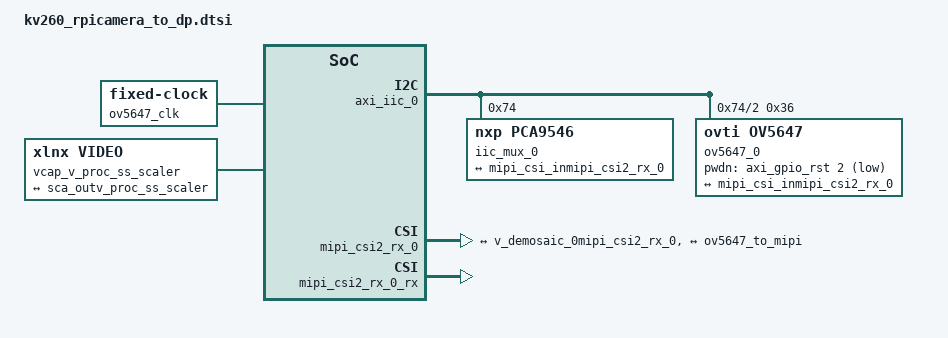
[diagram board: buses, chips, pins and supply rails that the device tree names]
/dts-v1/;
/plugin/;
&fpga_full {
	firmware-name = "kv260_rpicamera_to_dp.bit.bin";
	misc_clk_0: misc_clk_0 {
		clock-div = <1000>;
		compatible = "fixed-factor-clock";
		clock-mult = <3000>;
		clocks = <&zynqmp_clk 71>;
		#clock-cells = <0>;
	};
	misc_clk_2: misc_clk_2 {
		clock-div = <1000>;
		compatible = "fixed-factor-clock";
		clock-mult = <1140>;
		clocks = <&zynqmp_clk 71>;
		#clock-cells = <0>;
	};
	misc_clk_1: misc_clk_1 {
		clock-div = <1000>;
		compatible = "fixed-factor-clock";
		clock-mult = <2000>;
		clocks = <&zynqmp_clk 71>;
		#clock-cells = <0>;
	};
	clocking1: clocking1 {
		compatible = "xlnx,fclk";
		assigned-clocks = <&zynqmp_clk 72>;
		assigned-clock-rates = <99999001>;
		#clock-cells = <0>;
		clock-output-names = "fabric_clk";
		clocks = <&zynqmp_clk 72>;
	};
	clocking0: clocking0 {
		compatible = "xlnx,fclk";
		assigned-clocks = <&zynqmp_clk 71>;
		assigned-clock-rates = <99999001>;
		#clock-cells = <0>;
		clock-output-names = "fabric_clk";
		clocks = <&zynqmp_clk 71>;
	};
	afi0: afi0 {
		compatible = "xlnx,afi-fpga";
		resets = <&zynqmp_reset 116>, <&zynqmp_reset 117>, <&zynqmp_reset 118>, <&zynqmp_reset 119>;
		config-afi = < 0 0>, <1 0>, <2 0>, <3 0>, <4 0>, <5 0>, <6 0>, <7 0>, <8 0>, <9 0>, <10 0>, <11 0>, <12 0>, <13 0>, <14 0xa00>, <15 0x000>;
	};

	/* Manually extended: Sensor Clock for OV5647 */
	ov5647_clk: camera-clk {
		compatible = "fixed-clock";
		#clock-cells = <0>;
		clock-frequency = <25000000>;
	};
};

&amba {
	axi_gpio_rst: gpio@a0060000 {
		xlnx,gpio-board-interface = "Custom";
		compatible = "xlnx,axi-gpio-2.0" , "xlnx,xps-gpio-1.00.a";
		xlnx,all-outputs = <1>;
		#gpio-cells = <2>;
		xlnx,gpio-width = <6>;
		xlnx,dout-default = <0x3f>;
		xlnx,is-dual = <0>;
		xlnx,ip-name = "axi_gpio";
		xlnx,tri-default-2 = <0xffffffff>;
		reg = <0x0 0xa0060000 0x0 0x10000>;
		xlnx,all-inputs-2 = <0>;
		clocks = <&misc_clk_0>;
		xlnx,all-outputs-2 = <0>;
		gpio-controller;
		xlnx,interrupt-present = <0>;
		xlnx,gpio2-board-interface = "Custom";
		xlnx,edk-iptype = "PERIPHERAL";
		xlnx,dout-default-2 = <0x0>;
		xlnx,gpio2-width = <32>;
		clock-names = "s_axi_aclk";
		xlnx,tri-default = <0xffffffff>;
		xlnx,name = "axi_gpio_rst";
		xlnx,all-inputs = <0>;
	};
	axi_iic_0: i2c@a0050000 {
		interrupts = < 0 105 4 >;
		xlnx,iic-freq-khz = <400>;
		compatible = "xlnx,axi-iic-2.1" , "xlnx,xps-iic-2.00.a";
		xlnx,scl-inertial-delay = <0>;
		interrupt-parent = <&gic>;
		xlnx,ip-name = "axi_iic";
		xlnx,disable-setup-violation-check = <0>;
		reg = <0x0 0xa0050000 0x0 0x10000>;
		clocks = <&misc_clk_0>;
		xlnx,gpo-width = <1>;
		xlnx,edk-iptype = "PERIPHERAL";
		xlnx,static-timing-reg-width = <0>;
		xlnx,sda-level = <1>;
		clock-names = "s_axi_aclk";
		xlnx,use-board-flow;
		xlnx,ten-bit-adr = <0>;
		xlnx,default-value = <0x0>;
		interrupt-names = "iic2intc_irpt";
		xlnx,iic-board-interface = "som240_1_connector_hda_iic_switch";
		xlnx,timing-reg-width = <32>;
		xlnx,iic-freq = <400000>;
		xlnx,smbus-pmbus-host = <0>;
		xlnx,name = "axi_iic_0";
		xlnx,axi-aclk-freq-mhz = <0x11e19748>;
		xlnx,sda-inertial-delay = <0>;
		
		/* Manually extended: I2C Topology Extension */
		#address-cells = <1>;
		#size-cells = <0>;
		iic_mux_0: i2c_mux@74 {
			compatible = "nxp,pca9546";
			#address-cells = <1>;
			#size-cells = <0>;
			reg = <0x74>;
			i2c@0 { reg = <0>; };
			i2c@1 { reg = <1>; };
			rpi_i2c: i2c@2 {
				#address-cells = <1>;
				#size-cells = <0>;
				reg = <2>;
				ov5647_0: camera@36 {
					compatible = "ovti,ov5647";
					reg = <0x36>;
					clocks = <&ov5647_clk>;
					pwdn-gpios = <&axi_gpio_rst 2 1>; 
					clock-names = "xclk"; 
					port {
						ov5647_to_mipi: endpoint {
							remote-endpoint = <&mipi_csi_inmipi_csi2_rx_0>;
							clock-lanes = <0>;
							data-lanes = <1 2>;
						};
					};
				};
			};
			i2c@3 { reg = <3>; };
		};
	};
	mipi_csi2_rx_0: mipi_csi2_rx_subsystem@a0000000 {
		xlnx,data-lane2-byte = "All_Byte";
		xlnx,dpy-en-reg-if = <0>;
		xlnx,cmn-vc = <4>;
		xlnx,dphy-lanes = <2>;
		xlnx,ip-name = "mipi_csi2_rx_subsystem";
		reg = <0x0 0xa0000000 0x0 0x1000>;
		xlnx,vfb-tu-width = <1>;
		xlnx,ppc = <1>;
		xlnx,csi-buf-depth = <4096>;
		xlnx,exdes-fmc = "LI-IMX274MIPI-FMC , V1.0 , Single , Sensor";
		xlnx,supportlevel = <1>;
		xlnx,clk-lane-io-loc-name = "IO_L13P_T2L_N0_GC_QBC_66";
		xlnx,max-lanes = <2>;
		xlnx,cmn-inc-iic = <0>;
		xlnx,clk-lane-io-loc = "D7";
		xlnx,esc-timeout = <25600>;
		interrupt-names = "csirxss_csi_irq";
		xlnx,cmn-inc-vfb;
		xlnx,axis-tuser-width = <96>;
		compatible = "xlnx,mipi-csi2-rx-subsystem-6.0" , "xlnx,mipi-csi2-rx-subsystem-5.0";
		xlnx,en-active-lanes;
		xlnx,idly-tap = <1>;
		xlnx,cmn-num-pixels = <1>;
		xlnx,cmn-proj-family = <1>;
		xlnx,csi2rx-dbg = <0>;
		xlnx,fifo-rd-en-control;
		xlnx,vfb;
		interrupt-parent = <&gic>;
		xlnx,data-lane1-io-loc-name = "IO_L15P_T2L_N4_AD11P_66";
		xlnx,hs-timeout = <65541>;
		xlnx,data-lane3-io-loc-name = "None";
		xlnx,ext-mmcm = <0>;
		xlnx,data-lane1-byte = "All_Byte";
		xlnx,master-riu;
		xlnx,cal-mode = "NONE";
		xlnx,mipi-rx-phy-mode = <1>;
		xlnx,data-lane0-io-position = <28>;
		xlnx,exdes-board = "ZCU102";
		xlnx,data-lane2-io-position = <6>;
		xlnx,vc = <4>;
		xlnx,en-vcx = <0>;
		xlnx,name = "mipi_csi2_rx_0";
		xlnx,csi-emb-non-img = <0>;
		interrupts = < 0 106 4 >;
		xlnx,dphyrx-board-interface = "som240_1_connector_mipi_csi_raspi";
		xlnx,data-lane3-io-loc = "None";
		xlnx,clock-mask = <39>;
		xlnx,hs-settle-ns = <145>;
		clocks = <&misc_clk_1>, <&misc_clk_0>, <&misc_clk_0>;
		xlnx,data-lane2-io-loc = "None";
		xlnx,mipi-slv-int = <0>;
		xlnx,cmn-fifo-rd-en-cntrl;
		xlnx,data-lane3-byte = "All_Byte";
		xlnx,axis-tdest-width = <4>;
		xlnx,phy-mode = "DPHY";
		xlnx,stretch-line-rate = <1500>;
		xlnx,en-csi-v2 = <0>;
		xlnx,edk-iptype = "PERIPHERAL";
		xlnx,init = <100000>;
		xlnx,cmn-pxl-format = <0x2b>;
		xlnx,int-qor-check = <0>;
		clock-names = "dphy_clk_200M" , "lite_aclk" , "video_aclk";
		xlnx,data-lane1-io-loc = "G6";
		xlnx,data-lane0-byte = "All_Byte";
		xlnx,ooc-vid-clk = <0x65b710>;
		csirx-present = <1>;
		xlnx,yuv420-buf-dpth = <128>;
		xlnx,hp-io-bank-selection = <66>;
		xlnx,idly-group-name = "mipi_csi2rx_idly_group";
		xlnx,lprx-disable-extport = <0>;
		csirx-connected = <&mipi_csi2_rx_0_rx>;
		xlnx,highaddr = <0xa0000fff>;
		xlnx,cmn-num-lanes = <2>;
		xlnx,exdes-config = "MIPI_Video_Pipe_Camera_to_Display";
		xlnx,exdesboard-version = <2>;
		xlnx,dphy-preset = "CSI2RX_XLNX";
		xlnx,data-lane0-io-loc-name = "IO_L14P_T2L_N2_GC_66";
		xlnx,csi-pxl-format = <0x2b>;
		xlnx,clk-lane-io-position = <26>;
		xlnx,data-lane2-io-loc-name = "None";
		xlnx,data-lane0-io-loc = "E5";
		xlnx,inc-phy;
		xlnx,hs-line-rate = <912>;
		xlnx,dpy-line-rate = <912>;
		xlnx,csi-en-crc = <0>;
		xlnx,axis-tdata-width = <32>;
		xlnx,csi-controller-reg-if;
		xlnx,data-lane1-io-position = <30>;
		xlnx,dphy-mode = "SLAVE";
		xlnx,data-lane3-io-position = <8>;
		mipi_csi_portsmipi_csi2_rx_0: ports {
			#address-cells = <1>;
			#size-cells = <0>;
			mipi_csi_port1mipi_csi2_rx_0: port@1 {
				xlnx,video-width = <8>;
				reg = <1>;
				xlnx,video-format = <12>;
				xlnx,cfa-pattern = "rggb";
				mipi_csirx_outmipi_csi2_rx_0: endpoint {
					remote-endpoint = <&v_demosaic_0mipi_csi2_rx_0>;
				};
			};
			mipi_csi_port0mipi_csi2_rx_0: port@0 {
				xlnx,video-width = <8>;
				reg = <0>;
				xlnx,video-format = <12>;
				xlnx,cfa-pattern = "rggb";
				mipi_csi_inmipi_csi2_rx_0: endpoint {
					/* Manually extended */
					remote-endpoint = <&ov5647_to_mipi>;
					data-lanes = < 1 2 >;
				};
			};
		};
	};
	v_demosaic_0: v_demosaic@a0010000 {
		interrupts = < 0 107 4 >;
		compatible = "xlnx,v-demosaic-1.1" , "xlnx,v-demosaic";
		xlnx,max-width = <4096>;
		reset-gpios = <&axi_gpio_rst 0 1>;
		xlnx,max-height = <2560>;
		interrupt-parent = <&gic>;
		xlnx,max-rows = <2560>;
		xlnx,use-uram = <0>;
		xlnx,ip-name = "v_demosaic";
		reg = <0x0 0xa0010000 0x0 0x10000>;
		clocks = <&misc_clk_0>;
		xlnx,s-axi-ctrl-addr-width = <6>;
		xlnx,enable-zipper-removal;
		xlnx,samples-per-clock = <1>;
		xlnx,max-data-width = <8>;
		xlnx,edk-iptype = "PERIPHERAL";
		xlnx,max-cols = <4096>;
		clock-names = "ap_clk";
		xlnx,algorithm = <0>;
		interrupt-names = "interrupt";
		xlnx,s-axi-ctrl-data-width = <32>;
		xlnx,name = "v_demosaic_0";
		demosaic_portsv_demosaic_0: ports {
			#address-cells = <1>;
			#size-cells = <0>;
			demosaic_port1v_demosaic_0: port@1 {
				reg = <1>;
				demo_outv_demosaic_0: endpoint {
					remote-endpoint = <&v_gamma_lut_0v_demosaic_0>;
				};
			};
			demosaic_port0v_demosaic_0: port@0 {
				reg = <0>;
				v_demosaic_0mipi_csi2_rx_0: endpoint {
					remote-endpoint = <&mipi_csirx_outmipi_csi2_rx_0>;
				};
			};
		};
	};
	v_frmbuf_wr_0: v_frmbuf_wr@a0040000 {
		xlnx,has-y-uv8 = <0>;
		reset-gpios = <&axi_gpio_rst 4 1>;
		xlnx,max-height = <2160>;
		xlnx,has-bgra8 = <0>;
		xlnx,has-rgba8 = <0>;
		xlnx,ip-name = "v_frmbuf_wr";
		reg = <0x0 0xa0040000 0x0 0x10000>;
		xlnx,s-axi-ctrl-addr-width = <0x7>;
		xlnx,pixels-per-clock = <1>;
		xlnx,samples-per-clock = <1>;
		xlnx,max-nr-planes = <3>;
		xlnx,has-bgr8 = <1>;
		xlnx,has-rgb8 = <1>;
		xlnx,has-y-uv8-420 = <1>;
		xlnx,has-yuyv8 = <0>;
		xlnx,has-y-u-v8 = <0>;
		interrupt-names = "interrupt";
		compatible = "xlnx,v-frmbuf-wr-3.0" , "xlnx,axi-frmbuf-wr-v2.2";
		xlnx,max-width = <4096>;
		xlnx,has-rgb16 = <0>;
		xlnx,vid-formats = "rgb888" , "bgr888" , "xbgr8888" , "xrgb8888" , "nv12";
		xlnx,has-bgrx8 = <1>;
		xlnx,has-rgbx8 = <1>;
		xlnx,has-rgbx10 = <0>;
		interrupt-parent = <&gic>;
		xlnx,aximm-num-outstanding = <4>;
		xlnx,has-uyvy8 = <0>;
		xlnx,use-uram = <0>;
		xlnx,has-rgbx12 = <0>;
		xlnx,aximm-burst-length = <16>;
		xlnx,aximm-addr-width = <32>;
		xlnx,video-width = <8>;
		xlnx,max-cols = <4096>;
		xlnx,has-yuv8 = <0>;
		xlnx,has-y-uv10-420 = <0>;
		xlnx,has-yuva8 = <0>;
		xlnx,has-y-uv12-420 = <0>;
		xlnx,name = "v_frmbuf_wr_0";
		interrupts = < 0 104 4 >;
		xlnx,has-y10 = <0>;
		xlnx,has-y-uv16-420 = <0>;
		xlnx,has-y12 = <0>;
		xlnx,has-alpha = <0>;
		xlnx,has-y-u-v10 = <0>;
		clocks = <&misc_clk_0>;
		xlnx,has-y16 = <0>;
		xlnx,dma-align = <8>;
		xlnx,has-y-u-v12 = <0>;
		xlnx,edk-iptype = "PERIPHERAL";
		xlnx,has-interlaced = <0>;
		xlnx,has-yuv16 = <0>;
		xlnx,has-yuvx8 = <0>;
		xlnx,is-tile-format = <0>;
		xlnx,dma-addr-width = <32>;
		clock-names = "ap_clk";
		xlnx,s-axi-ctrl-data-width = <0x20>;
		xlnx,has-y8 = <0>;
		xlnx,has-y-uv10 = <0>;
		xlnx,has-y-uv12 = <0>;
		xlnx,max-rows = <2160>;
		xlnx,has-yuvx10 = <0>;
		#dma-cells = <1>;
		xlnx,has-yuvx12 = <0>;
		xlnx,has-y-uv16 = <0>;
		xlnx,max-data-width = <8>;
		xlnx,has-y-u-v8-420 = <0>;
		xlnx,num-video-components = <3>;
		xlnx,aximm-data-width = <64>;
	};
	v_gamma_lut_0: v_gamma_lut@a0020000 {
		interrupts = < 0 108 4 >;
		compatible = "xlnx,v-gamma-lut-1.1" , "xlnx,v-gamma-lut";
		xlnx,max-width = <4096>;
		reset-gpios = <&axi_gpio_rst 1 1>;
		xlnx,max-height = <2560>;
		interrupt-parent = <&gic>;
		xlnx,max-rows = <2560>;
		xlnx,ip-name = "v_gamma_lut";
		reg = <0x0 0xa0020000 0x0 0x10000>;
		clocks = <&misc_clk_0>;
		xlnx,s-axi-ctrl-addr-width = <13>;
		xlnx,max-data-width = <8>;
		xlnx,samples-per-clock = <1>;
		xlnx,edk-iptype = "PERIPHERAL";
		xlnx,max-cols = <4096>;
		clock-names = "ap_clk";
		interrupt-names = "interrupt";
		xlnx,s-axi-ctrl-data-width = <32>;
		xlnx,name = "v_gamma_lut_0";
		gamma_portsv_gamma_lut_0: ports {
			#address-cells = <1>;
			#size-cells = <0>;
			gamma_port1v_gamma_lut_0: port@1 {
				xlnx,video-width = <8>;
				reg = <1>;
				gamma_outv_gamma_lut_0: endpoint {
					remote-endpoint = <&v_proc_ss_cscv_gamma_lut_0>;
				};
			};
			gamma_port0v_gamma_lut_0: port@0 {
				xlnx,video-width = <8>;
				reg = <0>;
				v_gamma_lut_0v_demosaic_0: endpoint {
					remote-endpoint = <&demo_outv_demosaic_0>;
				};
			};
		};
	};
	v_proc_ss_csc: v_proc_ss@a0030000 {
		xlnx,v-chroma-taps = <4>;
		xlnx,h-chroma-algorithm = <2>;
		csc-connected = <&v_proc_ss_csc_csc>;
		hcrsmplr-present = <0>;
		reset-gpios = <&axi_gpio_rst 5 1>;
		xlnx,max-height = <2160>;
		rstaxis-present = <0>;
		vscale-present = <0>;
		xlnx,ip-name = "v_proc_ss";
		xlnx,enable-interlaced;
		reg = <0x0 0xa0030000 0x0 0x10000>;
		hscale-present = <0>;
		xlnx,deint-motion-adaptive;
		xlnx,h-scaler-taps = <6>;
		deint-present = <0>;
		xlnx,topology = <3>;
		xlnx,chroma-algorithm = <2>;
		compatible = "xlnx,v-proc-ss-2.3" , "xlnx,v-vpss-csc";
		xlnx,csc-enable-window =  "true";
		xlnx,max-width = <4096>;
		xlnx,aximm-num-outstanding = <16>;
		xlnx,vdma-aximm-addr-width = <32>;
		xlnx,use-uram = <0>;
		xlnx,aximm-burst-length = <16>;
		xlnx,aximm-addr-width = <32>;
		xlnx,v-scaler-taps = <6>;
		xlnx,scaler-enable-422;
		xlnx,video-width = <8>;
		xlnx,max-cols = <4096>;
		xlnx,colorspace-support = <0>;
		xlnx,read-fifo-depth = <128>;
		vdma-present = <0>;
		xlnx,name = "v_proc_ss_csc";
		xlnx,csc-enable-422;
		xlnx,scaler-algorithm = <2>;
		xlnx,v-scaler-phases = <64>;
		clocks = <&misc_clk_0>;
		xlnx,edk-iptype = "PERIPHERAL";
		rstaximm-present = <0>;
		lbox-present = <0>;
		clock-names = "aclk";
		router-present = <0>;
		xlnx,highaddr = <0xa003ffff>;
		xlnx,h-chroma-taps = <4>;
		xlnx,max-rows = <2160>;
		xlnx,h-scaler-phases = <64>;
		xlnx,max-data-width = <8>;
		xlnx,enable-dma;
		xlnx,write-fifo-depth = <128>;
		xlnx,num-video-components = <3>;
		xlnx,aximm-data-width = <64>;
		xlnx,samples-per-clk = <1>;
		xlnx,v-chroma-algorithm = <2>;
		csc-present = <1>;
		csc_portsv_proc_ss_csc: ports {
			#address-cells = <1>;
			#size-cells = <0>;
			csc_port1v_proc_ss_csc: port@1 {
				xlnx,video-width = <8>;
				reg = <1>;
				xlnx,video-format = <3>;
				csc_outv_proc_ss_csc: endpoint {
					remote-endpoint = <&v_proc_ss_scalerv_proc_ss_csc>;
				};
			};
			csc_port0v_proc_ss_csc: port@0 {
				xlnx,video-width = <8>;
				reg = <0>;
				xlnx,video-format = <3>;
				v_proc_ss_cscv_gamma_lut_0: endpoint {
					remote-endpoint = <&gamma_outv_gamma_lut_0>;
				};
			};
		};
	};
	v_proc_ss_scaler: v_proc_ss@a0080000 {
		xlnx,v-chroma-taps = <4>;
		xlnx,h-chroma-algorithm = <2>;
		hcrsmplr-present = <0>;
		reset-gpios = <&axi_gpio_rst 3 1>;
		xlnx,max-height = <2160>;
		rstaxis-present = <1>;
		vscale-present = <1>;
		xlnx,ip-name = "v_proc_ss";
		xlnx,enable-interlaced;
		reg = <0x0 0xa0080000 0x0 0x40000>;
		hscale-present = <1>;
		xlnx,deint-motion-adaptive;
		xlnx,num-hori-taps = <6>;
		xlnx,h-scaler-taps = <6>;
		deint-present = <0>;
		xlnx,topology = <0>;
		xlnx,chroma-algorithm = <2>;
		compatible = "xlnx,v-proc-ss-2.3" , "xlnx,v-vpss-scaler-2.2";
		xlnx,csc-enable-window =  "true";
		xlnx,max-width = <4096>;
		xlnx,aximm-num-outstanding = <16>;
		xlnx,vdma-aximm-addr-width = <32>;
		xlnx,use-uram = <0>;
		rstaxis-connected = <&v_proc_ss_scaler_reset_sel_axis>;
		vscale-connected = <&v_proc_ss_scaler_vsc>;
		xlnx,aximm-burst-length = <16>;
		xlnx,aximm-addr-width = <32>;
		xlnx,v-scaler-taps = <6>;
		xlnx,scaler-enable-422;
		xlnx,video-width = <8>;
		xlnx,max-cols = <4096>;
		xlnx,colorspace-support = <0>;
		xlnx,read-fifo-depth = <128>;
		vdma-present = <0>;
		xlnx,name = "v_proc_ss_scaler";
		xlnx,csc-enable-422 =  "true";
		xlnx,num-vert-taps = <6>;
		xlnx,pix-per-clk = <1>;
		xlnx,enable-csc = "false";
		xlnx,scaler-algorithm = <2>;
		xlnx,v-scaler-phases = <64>;
		clocks = <&misc_clk_0>, <&misc_clk_0>;
		xlnx,max-num-phases = <64>;
		xlnx,edk-iptype = "PERIPHERAL";
		lbox-present = <0>;
		clock-names = "aclk_axis" , "aclk_ctrl";
		router-present = <0>;
		xlnx,highaddr = <0xa00bffff>;
		xlnx,h-chroma-taps = <4>;
		xlnx,max-rows = <2160>;
		xlnx,h-scaler-phases = <64>;
		xlnx,max-data-width = <8>;
		hscale-connected = <&v_proc_ss_scaler_hsc>;
		xlnx,enable-dma;
		xlnx,write-fifo-depth = <128>;
		xlnx,num-video-components = <3>;
		xlnx,aximm-data-width = <64>;
		xlnx,samples-per-clk = <1>;
		xlnx,v-chroma-algorithm = <2>;
		csc-present = <0>;
		scaler_portsv_proc_ss_scaler: ports {
			#address-cells = <1>;
			#size-cells = <0>;
			scaler_port1v_proc_ss_scaler: port@1 {
				xlnx,video-width = <8>;
				reg = <1>;
				xlnx,video-format = <3>;
				sca_outv_proc_ss_scaler: endpoint {
					remote-endpoint = <&v_frmbuf_wr_0v_proc_ss_scaler>;
				};
			};
			scaler_port0v_proc_ss_scaler: port@0 {
				xlnx,video-width = <8>;
				reg = <0>;
				xlnx,video-format = <3>;
				v_proc_ss_scalerv_proc_ss_csc: endpoint {
					remote-endpoint = <&csc_outv_proc_ss_csc>;
				};
			};
		};
	};
	mipi_csi2_rx_0_rx: mipi_csi2_rx_0_rx@0 {
		xlnx,ip-name = "mipi_csi2_rx_ctrl";
		reg = <0x0 0xa0000000 0x0 0x1000>;
		xlnx,ppi-sig-width = <0>;
		xlnx,cmn-inc-vfb;
		xlnx,axis-tuser-width = <96>;
		compatible = "xlnx,mipi-csi2-rx-ctrl-1.0";
		xlnx,cmn-num-pixels = <1>;
		xlnx,cmn-proj-family = <0>;
		xlnx,csi2rx-dbg = <0>;
		xlnx,csi-opt1-regs = <0>;
		xlnx,disable-lite = <0>;
		xlnx,ppi-sync-width = <0>;
		xlnx,csi-filter-userdatatype = <0>;
		xlnx,csi-offload-nonimage = <0>;
		xlnx,csi-vc-off-10 = <11>;
		xlnx,emb-dw = <64>;
		xlnx,csi-vc-off-11 = <12>;
		xlnx,csi-vc-off-12 = <13>;
		xlnx,csi-vc-off-13 = <14>;
		xlnx,csi-vc-off-14 = <15>;
		xlnx,ppi-mult = <0>;
		xlnx,name = "mipi_csi2_rx_0_rx";
		xlnx,csi-vc-off-0 = <1>;
		xlnx,csi-vc-off-1 = <2>;
		xlnx,csi-vc-off-2 = <3>;
		xlnx,csi-vc-off-3 = <4>;
		xlnx,csi-vc-off-4 = <5>;
		xlnx,csi-lanes = <2>;
		xlnx,csi-vc-off-5 = <6>;
		xlnx,is-hierarchy;
		xlnx,axis-fifo-depth = <4096>;
		xlnx,csi-vc-off-6 = <7>;
		clocks = <&misc_clk_1>, <&misc_clk_2>, <&misc_clk_2>, <&misc_clk_0>, <&misc_clk_0>, <&misc_clk_0>;
		xlnx,axis-fifo-dcnt-width = <12>;
		xlnx,mipi-slv-int = <0>;
		xlnx,csi-vc-off-7 = <8>;
		xlnx,csi-vc-off-8 = <9>;
		xlnx,axis-tdest-width = <4>;
		xlnx,phy-mode = "DPHY";
		xlnx,csi-vc-off-9 = <10>;
		xlnx,edk-iptype = "PERIPHERAL";
		xlnx,cmn-pxl-format = "RAW10";
		xlnx,csi-opt2-crc = <1>;
		clock-names = "core_clk" , "dl0_rxbyteclkhs" , "dl1_rxbyteclkhs" , "m_axis_aclk" , "s_axi_aclk" , "video_aclk";
		xlnx,yuv420-buf-dpth = <128>;
		xlnx,hp-io-bank-selection = <66>;
		xlnx,csi-opt3-fixedlanes = <1>;
		xlnx,csi-en-vc-support = <1>;
		xlnx,hs-line-rate = <912>;
		xlnx,csi-fixed-vc = <0>;
		xlnx,csi-inv-shutdown = <1>;
		xlnx,axis-tdata-width = <64>;
		xlnx,header-data-width = <32>;
	};
	v_proc_ss_csc_csc: v_proc_ss_csc_csc@0 {
		compatible = "xlnx,v-csc-1.1";
		xlnx,v-csc-max-width = <4096>;
		xlnx,use-uram = <0>;
		xlnx,ip-name = "v_csc";
		xlnx,is-hierarchy;
		reg = <0x0 0xa0030000 0x0 0x10000>;
		clocks = <&misc_clk_0>;
		xlnx,s-axi-ctrl-addr-width = <9>;
		xlnx,samples-per-clock = <1>;
		xlnx,enable-420 = <1>;
		xlnx,max-data-width = <8>;
		xlnx,edk-iptype = "PERIPHERAL";
		xlnx,enable-422 = <1>;
		xlnx,enable-window = <1>;
		xlnx,v-csc-max-height = <2160>;
		clock-names = "ap_clk";
		xlnx,s-axi-ctrl-data-width = <32>;
		xlnx,name = "v_proc_ss_csc_csc";
	};
	v_proc_ss_scaler_hsc: v_proc_ss_scaler_hsc@0 {
		/* Manually extended */
		status = "disabled";
		xlnx,scale-mode = <2>;
		compatible = "xlnx,v-hscaler-1.1";
		xlnx,phase-shift = <6>;
		xlnx,enable-csc = <0>;
		xlnx,max-rows = <2160>;
		xlnx,use-uram = <0>;
		xlnx,ip-name = "v_hscaler";
		xlnx,is-hierarchy;
		reg = <0x0 0xa0080000 0x0 0x10000>;
		clocks = <&misc_clk_0>;
		xlnx,s-axi-ctrl-addr-width = <16>;
		xlnx,samples-per-clock = <1>;
		xlnx,max-data-width = <8>;
		xlnx,enable-420 = <1>;
		xlnx,edk-iptype = "PERIPHERAL";
		xlnx,enable-422 = <1>;
		xlnx,max-cols = <4096>;
		clock-names = "ap_clk";
		xlnx,num-video-components = <3>;
		xlnx,taps = <6>;
		xlnx,s-axi-ctrl-data-width = <32>;
		xlnx,name = "v_proc_ss_scaler_hsc";
	};
	v_proc_ss_scaler_reset_sel_axis: v_proc_ss_scaler_reset_sel_axis@10000 {
		/* Manually extended */
		status = "disabled";
		xlnx,gpio-board-interface = "Custom";
		compatible = "xlnx,axi-gpio-2.0" , "xlnx,xps-gpio-1.00.a";
		xlnx,all-outputs = <0>;
		#gpio-cells = <2>;
		xlnx,gpio-width = <2>;
		xlnx,dout-default = <0x0>;
		xlnx,is-dual = <0>;
		xlnx,ip-name = "axi_gpio";
		xlnx,is-hierarchy;
		xlnx,tri-default-2 = <0xffffffff>;
		reg = <0x0 0xa0090000 0x0 0x10000>;
		xlnx,all-inputs-2 = <0>;
		clocks = <&misc_clk_0>;
		xlnx,all-outputs-2 = <0>;
		gpio-controller;
		xlnx,interrupt-present = <0>;
		xlnx,gpio2-board-interface = "Custom";
		xlnx,edk-iptype = "PERIPHERAL";
		xlnx,dout-default-2 = <0x0>;
		xlnx,gpio2-width = <32>;
		clock-names = "s_axi_aclk";
		xlnx,tri-default = <0xffffffff>;
		xlnx,name = "v_proc_ss_scaler_reset_sel_axis";
		xlnx,all-inputs = <0>;
	};
	v_proc_ss_scaler_vsc: v_proc_ss_scaler_vsc@20000 {
		/* Manually extended */
		status = "disabled";
		xlnx,scale-mode = <2>;
		compatible = "xlnx,v-vscaler-1.1";
		xlnx,phase-shift = <6>;
		xlnx,max-rows = <2160>;
		xlnx,use-uram = <0>;
		xlnx,ip-name = "v_vscaler";
		xlnx,is-hierarchy;
		reg = <0x0 0xa00a0000 0x0 0x10000>;
		clocks = <&misc_clk_0>;
		xlnx,s-axi-ctrl-addr-width = <12>;
		xlnx,samples-per-clock = <1>;
		xlnx,enable-420 = <1>;
		xlnx,max-data-width = <8>;
		xlnx,edk-iptype = "PERIPHERAL";
		xlnx,max-cols = <4096>;
		clock-names = "ap_clk";
		xlnx,num-video-components = <3>;
		xlnx,taps = <6>;
		xlnx,s-axi-ctrl-data-width = <32>;
		xlnx,name = "v_proc_ss_scaler_vsc";
	};
	vcap_v_proc_ss_scaler {
		compatible = "xlnx,video";
		dmas = <&v_frmbuf_wr_0 0>;
		dma-names = "port0";
		vcap_portsv_proc_ss_scaler: ports {
			#address-cells = <1>;
			#size-cells = <0>;
			vcap_portv_proc_ss_scaler: port@0 {
				direction = "input";
				reg = <0>;
				v_frmbuf_wr_0v_proc_ss_scaler: endpoint {
					remote-endpoint = <&sca_outv_proc_ss_scaler>;
				};
			};
		};
	};
};
